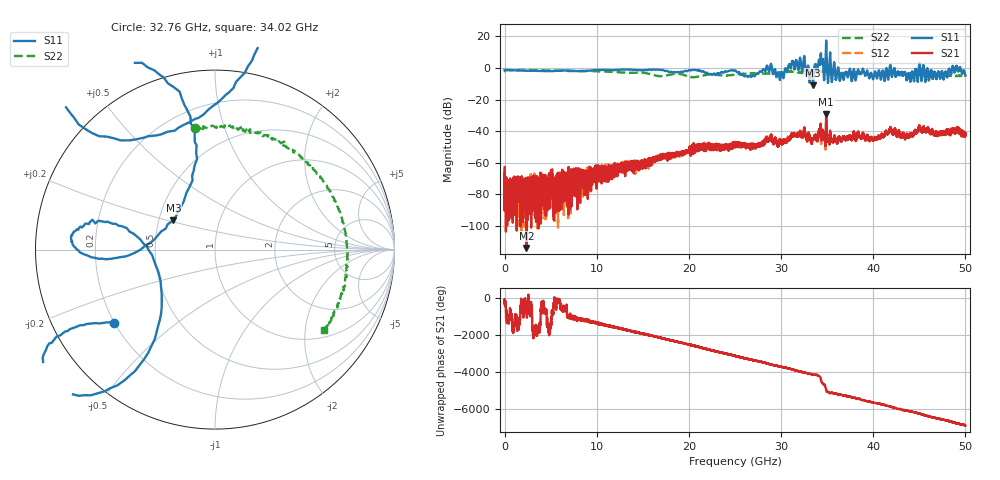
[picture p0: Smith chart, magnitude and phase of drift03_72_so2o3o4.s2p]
!Created with skrf (http://scikit-rf.org).
# Hz S RI R 50.0
!freq ReS11 ImS11 ReS21 ImS21 ReS12 ImS12 ReS22 ImS22
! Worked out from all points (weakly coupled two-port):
!   10001 points, 300 kHz to 50 GHz, reference 50 ohm
!   highest |S21| = -29.24 dB at 34.89 GHz (marker M1); lowest = -113.9 dB at 2.375 GHz (marker M2)
!   lowest |S11| = -11.0 dB at 33.47 GHz (marker M3), VSWR 1.79, Z = 29.8 + j10.5 ohm
!   |S11| at or under -10 dB: 33.44987 GHz to 33.48414 GHz (34.27 MHz wide, 0.102 % of centre)
!   |S22| runs from -5.9 to -1.3 dB; largest |S21 - S12| = 0.01
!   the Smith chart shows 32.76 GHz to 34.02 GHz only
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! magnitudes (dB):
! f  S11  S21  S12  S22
! 300 kHz  -1.3  -62.7  -63.2  -2.0
! 390.3 MHz  -1.4  -83.9  -76.7  -1.4
! 2.375 GHz  -1.8  -113.9  -81.0  -1.4
! 8.335 GHz  -2.2  -73.1  -72.2  -1.9
! 16.67 GHz  -1.1  -56.9  -57.9  -5.2
! 25 GHz  -1.5  -47.2  -48.8  -4.3
! 26.92 GHz  -4.9  -47.7  -48.8  -3.6
! 28.72 GHz  -2.3  -46.2  -45.8  -3.6
! 30.06 GHz  -2.5  -48.3  -47.7  -2.8
! 31.87 GHz  -1.4  -41.8  -41.3  -2.9
! 33.34 GHz  -2.2  -47.8  -47.4  -2.9
! 33.47 GHz  -11.0  -45.1  -45.3  -2.8
! 34.3 GHz  7.5  -35.2  -34.9  -2.3
! 34.89 GHz  17.2  -29.2  -32.1  -2.4
! 36.58 GHz  -3.5  -45.9  -45.9  -3.6
! 40.18 GHz  -2.3  -43.5  -44.0  -3.7
! 41.67 GHz  -5.4  -40.6  -40.4  -3.6
! 43.84 GHz  -3.9  -44.2  -43.6  -3.8
! 45.21 GHz  -7.2  -40.4  -39.4  -4.5
! 47.06 GHz  -2.5  -41.8  -41.2  -5.0
! 49.21 GHz  -2.0  -39.5  -39.4  -5.2
! 50 GHz  -4.7  -43.0  -42.3  -4.9
